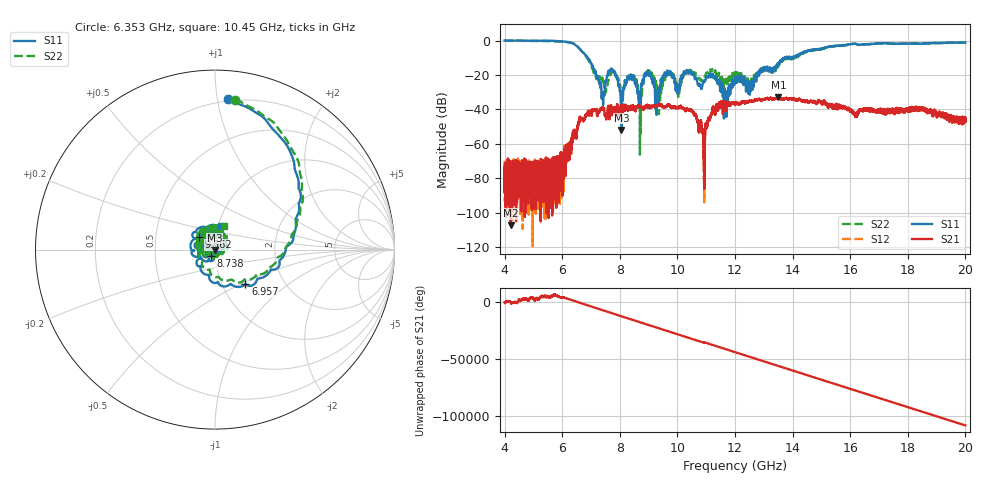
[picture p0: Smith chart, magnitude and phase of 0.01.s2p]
[Version] 2.0
! Rohde & Schwarz Vector Network Analyzer
! Rohde-Schwarz,ZNL20-2Port,1323001220200009,1.71.1.10-23.02.1.238
! Port Assignments:
! Nominal Port -> Actual Test Port
!  1 -> 1
!  2 -> 2
! Created: GMT+2 2025-01-17 12:06:15
# Hz S RI R 50
[Number of Ports] 2
[Two-Port Data Order] 21_12
! freq[Hz]  S11[Re]  S11[Im]  S21[Re]  S21[Im]  S12[Re]  S12[Im]  S22[Re]  S22[Im]
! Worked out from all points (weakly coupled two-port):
!   16001 points, 4 GHz to 20 GHz, reference 50 ohm
!   highest |S21| = -32.93 dB at 13.51 GHz (marker M1); lowest = -107.5 dB at 4.215 GHz (marker M2)
!   lowest |S11| = -52.0 dB at 8.054 GHz (marker M3), VSWR 1.01, Z = 49.8 - j0.193 ohm
!   |S11| at or under -10 dB: 6.887 GHz to 13.7 GHz (6.814 GHz wide, 66.2 % of centre); 13.71216 GHz to 13.74178 GHz (29.62 MHz wide, 0.216 % of centre); 13.94214 GHz to 13.96594 GHz (23.8 MHz wide, 0.171 % of centre) (the widest 3 of 9)
!   |S22| runs from -66.3 to 0.0 dB; largest |S21 - S12| = 0.0024
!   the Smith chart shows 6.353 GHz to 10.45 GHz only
!   S11 on the Smith chart (normalised r, x): 6.353 GHz: 0.19, +1.07; 6.957 GHz: 1.29, -0.53; 8.738 GHz: 0.95, -0.07; 9.562 GHz: 0.83, +0.12; 10.45 GHz: 1.03, +0.27
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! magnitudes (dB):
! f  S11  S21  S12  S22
! 4 GHz  0.0  -87.7  -75.1  -0.2
! 4.215 GHz  0.0  -107.5  -77.4  -0.1
! 5.763 GHz  -0.3  -77.5  -79.0  -0.5
! 6.353 GHz  -1.5  -57.8  -57.5  -1.5
! 6.667 GHz  -5.9  -45.7  -45.2  -6.0
! 6.957 GHz  -11.8  -42.1  -42.5  -12.6
! 7.401 GHz  -30.4  -38.9  -39.1  -22.4
! 7.719 GHz  -16.8  -41.1  -41.2  -18.8
! 8.054 GHz  -52.0  -37.3  -37.1  -31.1
! 8.336 GHz  -22.7  -39.3  -39.3  -21.5
! 8.738 GHz  -27.4  -38.7  -38.5  -30.9
! 8.998 GHz  -20.1  -37.9  -37.8  -18.7
! 9.334 GHz  -28.2  -37.7  -37.8  -30.3
! 9.562 GHz  -18.9  -38.8  -38.7  -21.9
! 10.45 GHz  -17.5  -40.1  -40.4  -17.0
! 10.91 GHz  -23.3  -60.3  -61.0  -21.4
! 11.21 GHz  -20.4  -40.1  -40.0  -16.9
! 12 GHz  -21.2  -37.2  -37.3  -19.2
! 13.51 GHz  -14.1  -32.9  -33.1  -14.2
! 14.67 GHz  -5.4  -35.4  -35.4  -5.9
! 17.33 GHz  -1.7  -41.5  -41.0  -1.8
! 20 GHz  -1.2  -47.1  -45.0  -1.2
